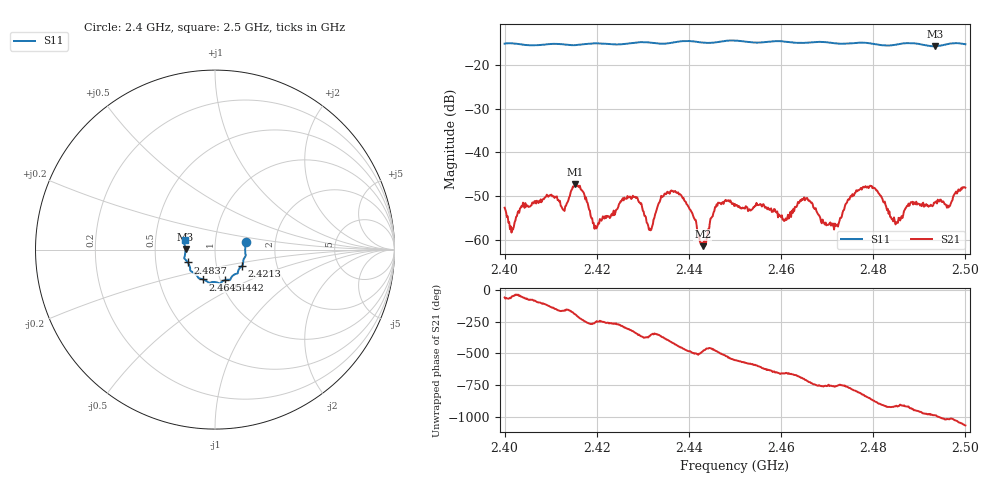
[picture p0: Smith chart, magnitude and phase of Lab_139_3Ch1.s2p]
# Hz S RI R 50
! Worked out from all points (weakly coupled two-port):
!   601 points, 2.4 GHz to 2.5 GHz, reference 50 ohm
!   highest |S21| = -47.29 dB at 2.4153 GHz (marker M1); lowest = -61.5 dB at 2.443 GHz (marker M2)
!   lowest |S11| = -15.7 dB at 2.4933 GHz (marker M3), VSWR 1.39, Z = 35.9 + j0.109 ohm
!   |S11| at or under -10 dB: start of sweep to end of sweep
!   S12 and S22 are empty: the file has one direction only
!   S11 on the Smith chart (normalised r, x): 2.4 GHz: 1.41, +0.12; 2.4213 GHz: 1.33, -0.25; 2.4442 GHz: 1.05, -0.37; 2.4645 GHz: 0.83, -0.29; 2.4837 GHz: 0.73, -0.11; 2.5 GHz: 0.71, +0.07
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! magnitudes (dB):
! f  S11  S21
! 2.4 GHz  -15.1  -52.7
! 2.4017 GHz  -15.1  -57.4
! 2.4153 GHz  -15.4  -47.3
! 2.4167 GHz  -15.3  -48.6
! 2.4197 GHz  -15.1  -56.8
! 2.4213 GHz  -15.1  -54.7
! 2.4283 GHz  -14.9  -50.2
! 2.4317 GHz  -14.9  -57.9
! 2.4333 GHz  -15.1  -52.0
! 2.438 GHz  -14.6  -49.6
! 2.443 GHz  -14.9  -61.5
! 2.4442 GHz  -15.0  -57.6
! 2.45 GHz  -14.4  -51.9
! 2.4608 GHz  -14.7  -55.6
! 2.4645 GHz  -15.0  -50.7
! 2.4667 GHz  -14.8  -51.5
! 2.472 GHz  -15.1  -56.8
! 2.4797 GHz  -15.1  -47.7
! 2.4833 GHz  -15.5  -54.1
! 2.4837 GHz  -15.5  -54.8
! 2.4933 GHz  -15.7  -51.6
! 2.5 GHz  -15.3  -48.1
